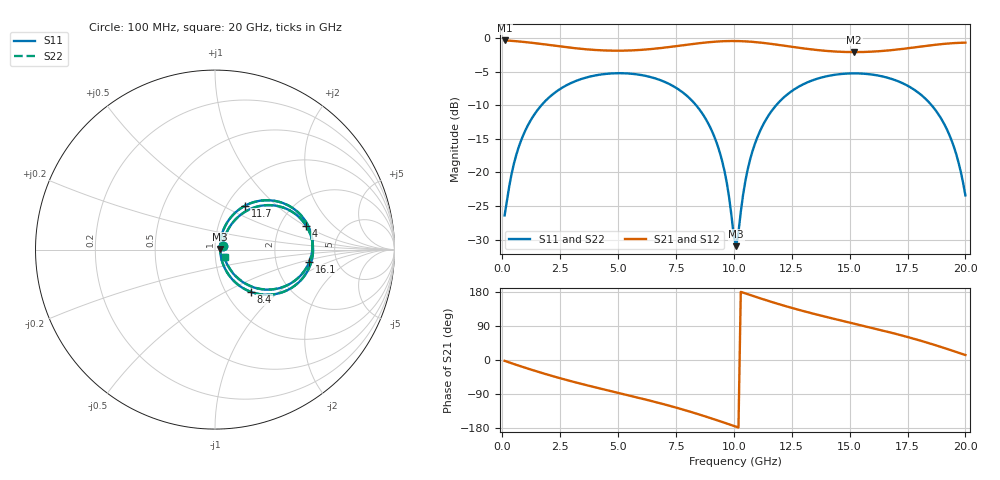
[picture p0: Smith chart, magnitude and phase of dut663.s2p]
! Touchstone file exported from HFSS 2026.1.0
!  File:  C:/ffzhzh/LocalFiles/Ansys_Project_Files/temp_train_TSV_RDL_663_1783131123_50312.aedt
!  Generated:  10:26:57 AM Jul  4, 2026
!  Design:  TSV_RDL
!  Project:  temp_train_TSV_RDL_663_1783131123_50312
! Variables:
!  h_bsmrdl = 2.01um
!  h_ox = 20um
!  h_rdl = 5um
!  h_sub = 89.14um
!  h_tmrdl = 2.43um
!  h_tsv = 89.14um
!  h_via = 3um
!  l_bsmrdl = 920.33um
!  l_sub = 5679.52um
!  l_tmrdl = 600.75um
!  m_sub = 200um
!  pitch = 47.69um
!  r_tsv = 11.17um
!  s_tmrdl = 10um
!  w_bsmrdl = 20.49um
!  w_sub = 500um
!  w_tmrdl = 18.02um
!  x_tsv_center1 = 609.76um
!  x_tsv_center2 = 1550.58um
!  x_tsv_center3 = 2169.35um
!  x_tsv_center4 = 3110.17um
!  x_tsv_center5 = 3728.94um
!  x_tsv_center6 = 4669.76um
# GHz S MA R 50.000000
! Terminal data exported
! Port[1] = TM_RDL1_1_T1
! Port[2] = TM_RDL5_1_T1
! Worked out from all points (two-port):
!   200 points, 100 MHz to 20 GHz, reference 50 ohm
!   highest |S21| = -0.38 dB at 100 MHz (marker M1); lowest = -2.1 dB at 15.2 GHz (marker M2)
!   |S21| within 3 dB of the highest: start of sweep to end of sweep
!   lowest |S11| = -31.0 dB at 10.1 GHz (marker M3), VSWR 1.06, Z = 52.9 + j0.343 ohm
!   |S11| at or under -10 dB: start of sweep to 1.695 GHz; 8.365 GHz to 11.83 GHz (3.47 GHz wide, 34.4 % of centre); 18.54 GHz to end of sweep
!   |S22| runs from -30.9 to -5.3 dB; largest |S21 - S12| = 1.6e-14
!   S11 on the Smith chart (normalised r, x): 100 MHz: 1.09, +0.04; 4 GHz: 2.79, +1.02; 8.4 GHz: 1.30, -0.68; 11.7 GHz: 1.21, +0.65; 16.1 GHz: 3.12, -0.60; 20 GHz: 1.11, -0.10
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0.1  0.04777 25.5  0.9574 -2.2  0.9574 -2.2  0.04777 25.5
! Gamma 0 0 0 0
! Port Impedance 50 0 50 0
0.6  0.1341 56.9  0.9452 -12.7  0.9452 -12.7  0.1341 56.9
1.2  0.2395 53.7  0.9231 -24.5  0.9231 -24.5  0.2394 53.7
2.2  0.3832 40.3  0.8782 -43.0  0.8782 -43.0  0.3832 40.3
3.5  0.5001 21.6  0.8265 -64.3  0.8265 -64.3  0.5001 21.6
4  0.5253 14.6  0.8136 -71.9  0.8136 -71.9  0.5252 14.6
5.4  0.5441 -4.6  0.8054 -92.6  0.8054 -92.6  0.544 -4.5
6.8  0.487 -24.5  0.8389 -113.9  0.8389 -113.9  0.487 -24.5
8.4  0.3111 -49.5  0.9089 -141.8  0.9089 -141.8  0.311 -49.4
9.4  0.1392 -62.2  0.9425 -161.5  0.9425 -161.5  0.1393 -62.1
9.7  0.08272 -60.0  0.947 -167.7  0.947 -167.7  0.08278 -59.8
10.1  0.02821 6.6  0.9478 -176.0  0.9478 -176.0  0.02848 6.6
10.4  0.06824 61.7  0.9445 177.7  0.9445 177.7  0.06838 61.6
10.7  0.1241 67.0  0.9379 171.6  0.9379 171.6  0.1241 66.9
11.7  0.2964 55.6  0.8986 151.9  0.8986 151.9  0.2965 55.6
13.4  0.4838 29.6  0.8196 122.7  0.8196 122.7  0.4838 29.7
15.2  0.5446 4.7  0.7843 95.9  0.7843 95.9  0.5446 4.7
16.1  0.5296 -7.5  0.7928 82.7  0.7928 82.7  0.5296 -7.5
16.7  0.5022 -15.9  0.8077 73.6  0.8077 73.6  0.5023 -15.8
18.9  0.2597 -47.9  0.8967 35.4  0.8967 35.4  0.2598 -47.6
19.5  0.1554 -52.9  0.9149 23.4  0.9149 23.4  0.1557 -52.5
20  0.06735 -39.5  0.922 13.1  0.922 13.1  0.06816 -38.6
